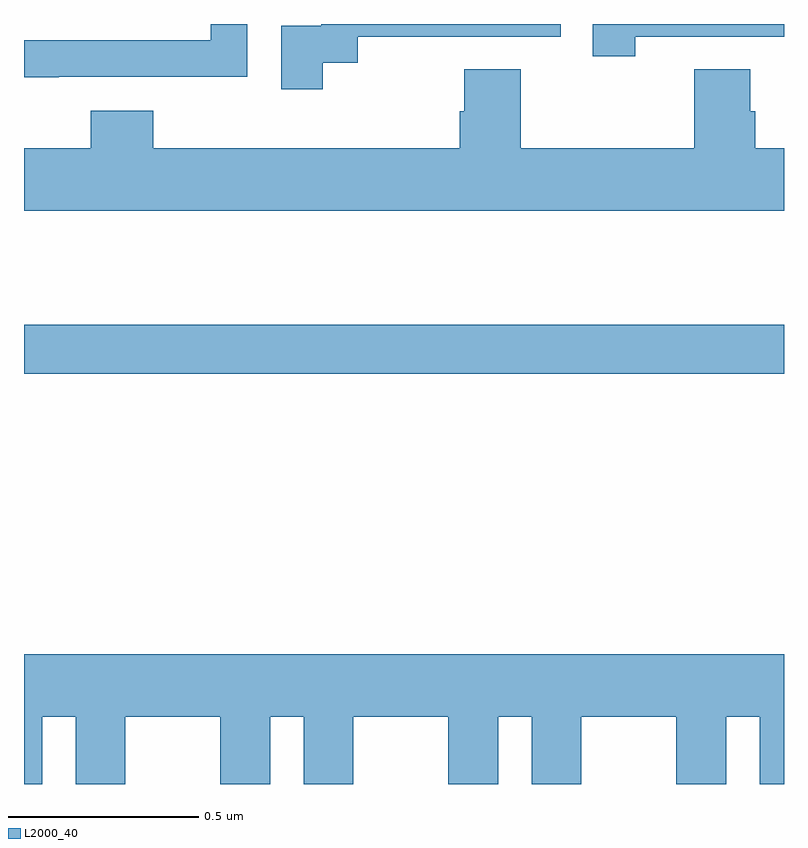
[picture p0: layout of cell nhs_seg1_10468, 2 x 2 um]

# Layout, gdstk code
import gdstk
lib = gdstk.Library(unit=1e-6, precision=1e-09)
def R(c, l, rs):  # rectangles x0, y0, x1, y1
    for r in rs: c.add(gdstk.rectangle(r[:2], r[2:], *l))
def P(c, l, *ps):  # polygons
    for p in ps: c.add(gdstk.Polygon(p, *l))
L2000_40 = (2000, 40)

nhs_seg1_10468 = lib.new_cell('nhs_seg1_10468')
R(nhs_seg1_10468, L2000_40, [(241,575.278,243,575.407)])
P(nhs_seg1_10468, L2000_40, [(241.091,576.06),(241.587,576.06),(241.587,576.199),(241.491,576.199),(241.491,576.156),(241,576.156),(241,576.059),(241.091,576.059)],
  [(241.786,576.097),(241.878,576.097),(241.878,576.165),(242.412,576.165),(242.412,576.199),(241.782,576.199),(241.782,576.195),(241.677,576.195),(241.677,576.027),(241.786,576.027)],
  [(242.608,576.165),(243,576.165),(243,576.199),(242.497,576.199),(242.497,576.114),(242.608,576.114)],
  [(243,575.872),(242.924,575.872),(242.924,575.97),(242.911,575.97),(242.911,576.08),(242.764,576.08),(242.764,575.872),(242.307,575.872),(242.307,576.08),(242.159,576.08),(242.159,575.97),(242.147,575.97),(242.147,575.872),(241.34,575.872),(241.34,575.971),(241.175,575.971),(241.175,575.872),(241,575.872),(241,575.708),(243,575.708)],
  [(241.048,574.376),(241.136,574.376),(241.136,574.199),(241.267,574.199),(241.267,574.376),(241.517,574.376),(241.517,574.199),(241.648,574.199),(241.648,574.376),(241.736,574.376),(241.736,574.199),(241.867,574.199),(241.867,574.376),(242.117,574.376),(242.117,574.199),(242.248,574.199),(242.248,574.376),(242.336,574.376),(242.336,574.199),(242.467,574.199),(242.467,574.376),(242.717,574.376),(242.717,574.199),(242.848,574.199),(242.848,574.376),(242.936,574.376),(242.936,574.199),(243,574.199),(243,574.54),(241,574.54),(241,574.199),(241.048,574.199)])

lib.write_gds('nhs_seg1_10468.gds')
